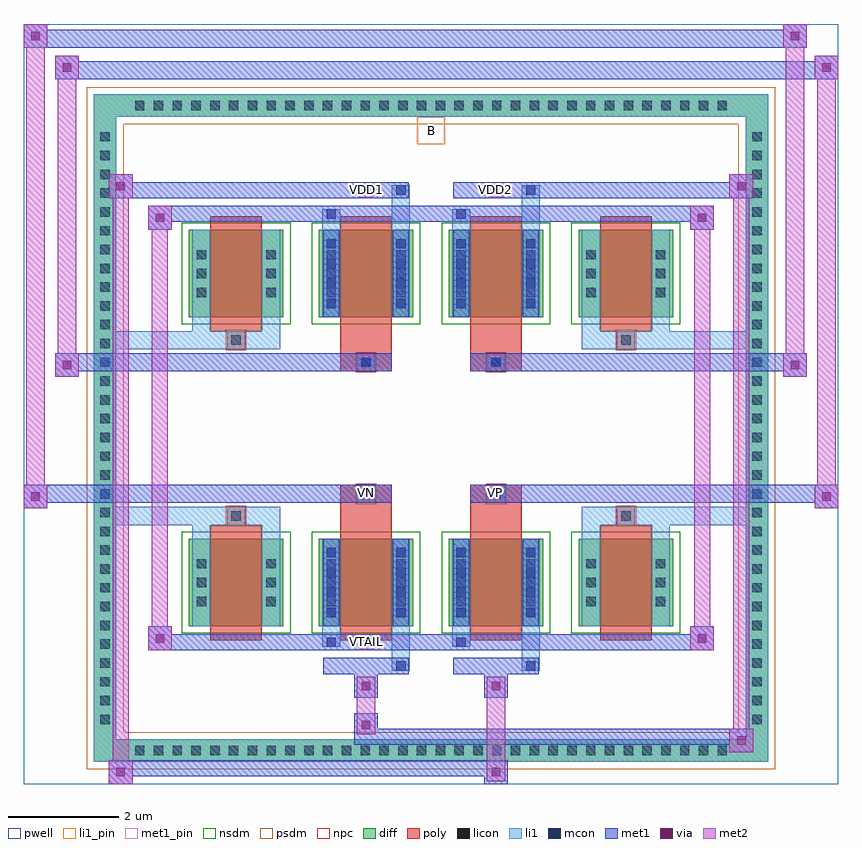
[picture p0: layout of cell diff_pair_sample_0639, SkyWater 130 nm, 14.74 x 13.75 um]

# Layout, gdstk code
import gdstk
lib = gdstk.Library(unit=1e-6, precision=5e-09)
def R(c, l, rs):  # rectangles x0, y0, x1, y1
    for r in rs: c.add(gdstk.rectangle(r[:2], r[2:], *l))
def A(c, l, x, y, w, h, nx, ny, dx, dy):  # array of equal rectangles
    R(c, l, [(x+i*dx, y+j*dy, x+i*dx+w, y+j*dy+h) for i in range(nx) for j in range(ny)])
def P(c, l, *ps):  # polygons
    for p in ps: c.add(gdstk.Polygon(p, *l))
pwell = (64, 44)
diff = (65, 20)
poly = (66, 20)
licon = (66, 44)
li1_pin = (67, 16)
li1 = (67, 20)
mcon = (67, 44)
met1_pin = (68, 16)
met1 = (68, 20)
via = (68, 44)
met2 = (69, 20)
nsdm = (93, 44)
psdm = (94, 20)
npc = (95, 20)

diff_pair_sample_0639 = lib.new_cell('diff_pair_sample_0639')
R(diff_pair_sample_0639, pwell, [(-7.37,-6.44,7.37,7.31), (-4.69,-4.63,-0.01,-0.825), (0.01,-4.63,4.69,-0.825), (-4.69,0.825,-0.01,4.63), (0.01,0.825,4.69,4.63)])
A(diff_pair_sample_0639, diff, -5.475, -6.04, 0.41, 0.41, 32, 2, 0.34, 11.67)
A(diff_pair_sample_0639, diff, -6.1, -5.475, 0.41, 0.41, 1, 32, 0, 0.34)
A(diff_pair_sample_0639, diff, 5.69, -5.475, 0.41, 0.41, 1, 32, 0, 0.34)
A(diff_pair_sample_0639, diff, -4.38, -3.585, 1.71, 1.58, 4, 2, 2.35, 5.59)
R(diff_pair_sample_0639, diff, [(-5.475,-6.04,5.475,-5.63), (-6.1,-5.475,-5.69,5.475), (5.69,-5.475,6.1,5.475), (-5.475,5.63,5.475,6.04)])
P(diff_pair_sample_0639, diff, [(6.1,6.04),(-6.1,6.04),(-6.1,-5.63),(-5.69,-5.63),(-5.69,5.63),(5.69,5.63),(5.69,-5.63),(-5.69,-5.63),(-6.1,-5.63),(-6.1,-6.04),(6.1,-6.04)])
A(diff_pair_sample_0639, poly, -3.99, -3.835, 0.93, 2.08, 4, 2, 2.35, 5.59)
R(diff_pair_sample_0639, poly, [(-3.69,-1.755,-3.36,-1.425), (-3.69,-1.755,-3.36,-1.425), (-1.64,-1.755,-0.71,-1.355), (0.71,-1.755,1.64,-1.355), (3.36,-1.755,3.69,-1.425), (3.36,-1.755,3.69,-1.425), (-1.64,-1.355,-0.71,-1.025), (-1.34,-1.355,-1.01,-1.025), (0.71,-1.355,1.64,-1.025), (1.01,-1.355,1.34,-1.025), (-1.64,1.025,-0.71,1.355), (-1.34,1.025,-1.01,1.355), (0.71,1.025,1.64,1.355), (1.01,1.025,1.34,1.355), (-1.64,1.355,-0.71,1.755), (0.71,1.355,1.64,1.755), (-3.69,1.425,-3.36,1.755), (-3.69,1.425,-3.36,1.755), (3.36,1.425,3.69,1.755), (3.36,1.425,3.69,1.755)])
A(diff_pair_sample_0639, licon, -5.355, -5.92, 0.17, 0.17, 32, 2, 0.34, 11.67)
A(diff_pair_sample_0639, licon, -5.98, -5.355, 0.17, 0.17, 1, 32, 0, 0.34)
A(diff_pair_sample_0639, licon, 5.81, -5.355, 0.17, 0.17, 1, 32, 0, 0.34)
A(diff_pair_sample_0639, licon, -4.24, -3.22, 0.17, 0.17, 1, 3, 0, 0.34)
A(diff_pair_sample_0639, licon, -2.98, -3.22, 0.17, 0.17, 1, 3, 0, 0.34)
A(diff_pair_sample_0639, licon, -1.89, -3.22, 0.17, 0.17, 1, 3, 0, 0.34)
A(diff_pair_sample_0639, licon, -0.63, -3.22, 0.17, 0.17, 1, 3, 0, 0.34)
A(diff_pair_sample_0639, licon, 0.46, -3.22, 0.17, 0.17, 1, 3, 0, 0.34)
A(diff_pair_sample_0639, licon, 1.72, -3.22, 0.17, 0.17, 1, 3, 0, 0.34)
A(diff_pair_sample_0639, licon, 2.81, -3.22, 0.17, 0.17, 1, 3, 0, 0.34)
A(diff_pair_sample_0639, licon, 4.07, -3.22, 0.17, 0.17, 1, 3, 0, 0.34)
A(diff_pair_sample_0639, licon, -4.24, 2.37, 0.17, 0.17, 1, 3, 0, 0.34)
A(diff_pair_sample_0639, licon, -2.98, 2.37, 0.17, 0.17, 1, 3, 0, 0.34)
A(diff_pair_sample_0639, licon, -1.89, 2.37, 0.17, 0.17, 1, 3, 0, 0.34)
A(diff_pair_sample_0639, licon, -0.63, 2.37, 0.17, 0.17, 1, 3, 0, 0.34)
A(diff_pair_sample_0639, licon, 0.46, 2.37, 0.17, 0.17, 1, 3, 0, 0.34)
A(diff_pair_sample_0639, licon, 1.72, 2.37, 0.17, 0.17, 1, 3, 0, 0.34)
A(diff_pair_sample_0639, licon, 2.81, 2.37, 0.17, 0.17, 1, 3, 0, 0.34)
A(diff_pair_sample_0639, licon, 4.07, 2.37, 0.17, 0.17, 1, 3, 0, 0.34)
R(diff_pair_sample_0639, licon, [(-3.61,-1.675,-3.44,-1.505), (3.44,-1.675,3.61,-1.505), (-1.26,-1.275,-1.09,-1.105), (1.09,-1.275,1.26,-1.105), (-1.26,1.105,-1.09,1.275), (1.09,1.105,1.26,1.275), (-3.61,1.505,-3.44,1.675), (3.44,1.505,3.61,1.675)])
R(diff_pair_sample_0639, li1_pin, [(-0.25,5.13,0.25,5.63)])
A(diff_pair_sample_0639, li1, -5.435, -6, 0.33, 0.33, 32, 2, 0.34, 11.67)
A(diff_pair_sample_0639, li1, -6.06, -5.435, 0.33, 0.33, 1, 32, 0, 0.34)
A(diff_pair_sample_0639, li1, 5.73, -5.435, 0.33, 0.33, 1, 32, 0, 0.34)
A(diff_pair_sample_0639, li1, -1.89, -3.42, 0.17, 0.17, 1, 4, 0, 0.36)
A(diff_pair_sample_0639, li1, -0.63, -3.42, 0.17, 0.17, 1, 4, 0, 0.36)
A(diff_pair_sample_0639, li1, 0.46, -3.42, 0.17, 0.17, 1, 4, 0, 0.36)
A(diff_pair_sample_0639, li1, 1.72, -3.42, 0.17, 0.17, 1, 4, 0, 0.36)
A(diff_pair_sample_0639, li1, -4.32, -3.3, 0.33, 0.33, 1, 3, 0, 0.34)
A(diff_pair_sample_0639, li1, -3.06, -3.3, 0.33, 0.33, 1, 3, 0, 0.34)
A(diff_pair_sample_0639, li1, -1.97, -3.3, 0.33, 0.33, 1, 3, 0, 0.34)
A(diff_pair_sample_0639, li1, -0.71, -3.3, 0.33, 0.33, 1, 3, 0, 0.34)
A(diff_pair_sample_0639, li1, 0.38, -3.3, 0.33, 0.33, 1, 3, 0, 0.34)
A(diff_pair_sample_0639, li1, 1.64, -3.3, 0.33, 0.33, 1, 3, 0, 0.34)
A(diff_pair_sample_0639, li1, 2.73, -3.3, 0.33, 0.33, 1, 3, 0, 0.34)
A(diff_pair_sample_0639, li1, 3.99, -3.3, 0.33, 0.33, 1, 3, 0, 0.34)
A(diff_pair_sample_0639, li1, -1.89, 2.17, 0.17, 0.17, 1, 4, 0, 0.36)
A(diff_pair_sample_0639, li1, -0.63, 2.17, 0.17, 0.17, 1, 4, 0, 0.36)
A(diff_pair_sample_0639, li1, 0.46, 2.17, 0.17, 0.17, 1, 4, 0, 0.36)
A(diff_pair_sample_0639, li1, 1.72, 2.17, 0.17, 0.17, 1, 4, 0, 0.36)
A(diff_pair_sample_0639, li1, -4.32, 2.29, 0.33, 0.33, 1, 3, 0, 0.34)
A(diff_pair_sample_0639, li1, -3.06, 2.29, 0.33, 0.33, 1, 3, 0, 0.34)
A(diff_pair_sample_0639, li1, -1.97, 2.29, 0.33, 0.33, 1, 3, 0, 0.34)
A(diff_pair_sample_0639, li1, -0.71, 2.29, 0.33, 0.33, 1, 3, 0, 0.34)
A(diff_pair_sample_0639, li1, 0.38, 2.29, 0.33, 0.33, 1, 3, 0, 0.34)
A(diff_pair_sample_0639, li1, 1.64, 2.29, 0.33, 0.33, 1, 3, 0, 0.34)
A(diff_pair_sample_0639, li1, 2.73, 2.29, 0.33, 0.33, 1, 3, 0, 0.34)
A(diff_pair_sample_0639, li1, 3.99, 2.29, 0.33, 0.33, 1, 3, 0, 0.34)
R(diff_pair_sample_0639, li1, [(-6.1,-6.04,-5.69,-5.63), (-6.1,-6.04,-5.69,-5.63), (-5.69,-6.04,5.69,-5.63), (5.69,-6.04,6.1,-5.63), (5.69,-6.04,6.1,-5.63), (-6.1,-5.63,-5.69,5.63), (5.69,-5.63,6.1,5.63), (-0.71,-4.39,-0.38,-3.585), (-0.63,-4.39,-0.46,-4.22), (1.64,-4.39,1.97,-3.585), (1.72,-4.39,1.89,-4.22), (-1.97,-3.96,-1.64,-3.585), (-1.89,-3.96,-1.72,-3.79), (0.38,-3.96,0.71,-3.585), (0.46,-3.96,0.63,-3.79), (-4.32,-3.585,-3.99,-2.005), (-3.06,-3.585,-2.73,-2.005), (-1.97,-3.585,-1.64,-2.005), (-0.71,-3.585,-0.38,-2.005), (0.38,-3.585,0.71,-2.005), (1.64,-3.585,1.97,-2.005), (2.73,-3.585,3.06,-2.005), (3.99,-3.585,4.32,-2.005), (-1.89,-3.42,-1.72,-2.17), (-0.63,-3.42,-0.46,-2.17), (0.46,-3.42,0.63,-2.17), (1.72,-3.42,1.89,-2.17), (-4.32,-2.005,-3.99,-1.425), (-3.06,-2.005,-2.73,-1.425), (2.73,-2.005,3.06,-1.425), (3.99,-2.005,4.32,-1.425), (-6.1,-1.755,-3.69,-1.425), (-4.32,-1.755,-3.69,-1.425), (-3.69,-1.755,-3.36,-1.425), (-3.36,-1.755,-2.73,-1.425), (2.73,-1.755,3.36,-1.425), (3.36,-1.755,3.69,-1.425), (3.36,-1.755,6.1,-1.425), (3.69,-1.755,4.32,-1.425), (-1.34,-1.355,-1.01,-1.025), (1.01,-1.355,1.34,-1.025), (-1.34,1.025,-1.01,1.355), (1.01,1.025,1.34,1.355), (-6.1,1.425,-3.69,1.755), (-4.32,1.425,-3.69,1.755), (-4.32,1.425,-3.99,2.005), (-3.69,1.425,-3.36,1.755), (-3.36,1.425,-2.73,1.755), (-3.06,1.425,-2.73,2.005), (2.73,1.425,3.36,1.755), (2.73,1.425,3.06,2.005), (3.36,1.425,3.69,1.755), (3.36,1.425,6.1,1.755), (3.69,1.425,4.32,1.755), (3.99,1.425,4.32,2.005), (-4.32,2.005,-3.99,3.585), (-3.06,2.005,-2.73,3.585), (-1.97,2.005,-1.64,3.585), (-0.71,2.005,-0.38,3.585), (0.38,2.005,0.71,3.585), (1.64,2.005,1.97,3.585), (2.73,2.005,3.06,3.585), (3.99,2.005,4.32,3.585), (-1.89,2.17,-1.72,3.42), (-0.63,2.17,-0.46,3.42), (0.46,2.17,0.63,3.42), (1.72,2.17,1.89,3.42), (-1.97,3.585,-1.64,3.96), (-0.71,3.585,-0.38,4.39), (0.38,3.585,0.71,3.96), (1.64,3.585,1.97,4.39), (-1.89,3.79,-1.72,3.96), (0.46,3.79,0.63,3.96), (-0.63,4.22,-0.46,4.39), (1.72,4.22,1.89,4.39), (-6.1,5.63,-5.69,6.04), (-6.1,5.63,-5.69,6.04), (-5.69,5.63,5.69,6.04), (5.69,5.63,6.1,6.04), (5.69,5.63,6.1,6.04)])
A(diff_pair_sample_0639, mcon, -1.89, -3.42, 0.17, 0.17, 1, 4, 0, 0.36)
A(diff_pair_sample_0639, mcon, -0.63, -3.42, 0.17, 0.17, 1, 4, 0, 0.36)
A(diff_pair_sample_0639, mcon, 0.46, -3.42, 0.17, 0.17, 1, 4, 0, 0.36)
A(diff_pair_sample_0639, mcon, 1.72, -3.42, 0.17, 0.17, 1, 4, 0, 0.36)
A(diff_pair_sample_0639, mcon, -1.89, 2.17, 0.17, 0.17, 1, 4, 0, 0.36)
A(diff_pair_sample_0639, mcon, -0.63, 2.17, 0.17, 0.17, 1, 4, 0, 0.36)
A(diff_pair_sample_0639, mcon, 0.46, 2.17, 0.17, 0.17, 1, 4, 0, 0.36)
A(diff_pair_sample_0639, mcon, 1.72, 2.17, 0.17, 0.17, 1, 4, 0, 0.36)
R(diff_pair_sample_0639, mcon, [(-0.63,-4.39,-0.46,-4.22), (1.72,-4.39,1.89,-4.22), (-1.89,-3.96,-1.72,-3.79), (0.46,-3.96,0.63,-3.79), (-1.26,-1.275,-1.09,-1.105), (1.09,-1.275,1.26,-1.105), (-1.26,1.105,-1.09,1.275), (1.09,1.105,1.26,1.275), (-1.89,3.79,-1.72,3.96), (0.46,3.79,0.63,3.96), (-0.63,4.22,-0.46,4.39), (1.72,4.22,1.89,4.39)])
R(diff_pair_sample_0639, met1_pin, [(-1.31,-4,-1.04,-3.73), (-1.31,-1.295,-1.04,-1.025), (1.04,-1.295,1.31,-1.025), (-1.31,4.18,-1.04,4.45), (1.04,4.18,1.31,4.45)])
A(diff_pair_sample_0639, met1, -1.95, -3.48, 0.29, 0.29, 1, 4, 0, 0.36)
A(diff_pair_sample_0639, met1, -0.69, -3.48, 0.29, 0.29, 1, 4, 0, 0.36)
A(diff_pair_sample_0639, met1, 0.4, -3.48, 0.29, 0.29, 1, 4, 0, 0.36)
A(diff_pair_sample_0639, met1, 1.66, -3.48, 0.29, 0.29, 1, 4, 0, 0.36)
A(diff_pair_sample_0639, met1, -1.95, 2.11, 0.29, 0.29, 1, 4, 0, 0.36)
A(diff_pair_sample_0639, met1, -0.69, 2.11, 0.29, 0.29, 1, 4, 0, 0.36)
A(diff_pair_sample_0639, met1, 0.4, 2.11, 0.29, 0.29, 1, 4, 0, 0.36)
A(diff_pair_sample_0639, met1, 1.66, 2.11, 0.29, 0.29, 1, 4, 0, 0.36)
R(diff_pair_sample_0639, met1, [(-5.83,-6.44,-5.4,-6.01), (0.96,-6.44,1.39,-6.01), (-5.83,-6.3,1.39,-6.01), (5.4,-5.87,5.83,-5.44), (-1.39,-5.73,5.83,-5.44), (-1.39,-5.59,-0.96,-5.16), (-1.39,-4.88,-0.96,-4.45), (0.96,-4.88,1.39,-4.45), (-1.95,-4.45,-0.4,-4.16), (-0.69,-4.45,-0.4,-4.16), (0.4,-4.45,1.95,-4.16), (1.66,-4.45,1.95,-4.16), (-5.12,-4.02,-4.69,-3.59), (-5.12,-4.02,-1.95,-3.73), (-1.95,-4.02,-1.66,-3.73), (-1.95,-4.02,-0.4,-3.73), (-0.4,-4.02,0.4,-3.73), (0.4,-4.02,0.69,-3.73), (0.4,-4.02,1.95,-3.73), (1.95,-4.02,5.12,-3.73), (4.69,-4.02,5.12,-3.59), (-1.95,-3.585,-1.66,-2.005), (-0.69,-3.585,-0.4,-2.005), (0.4,-3.585,0.69,-2.005), (1.66,-3.585,1.95,-2.005), (-7.37,-1.455,-6.94,-1.025), (6.94,-1.455,7.37,-1.025), (-7.37,-1.355,-0.71,-1.025), (-1.64,-1.355,-0.71,-1.025), (0.71,-1.355,1.64,-1.025), (0.71,-1.355,7.37,-1.025), (-1.32,-1.335,-1.03,-1.045), (1.03,-1.335,1.32,-1.045), (-6.8,0.925,-6.37,1.355), (6.37,0.925,6.8,1.355), (-6.8,1.025,-1.64,1.355), (-1.64,1.025,-0.71,1.355), (0.71,1.025,1.64,1.355), (1.64,1.025,6.8,1.355), (-1.32,1.045,-1.03,1.335), (1.03,1.045,1.32,1.335), (-1.95,2.005,-1.66,3.585), (-0.69,2.005,-0.4,3.585), (0.4,2.005,0.69,3.585), (1.66,2.005,1.95,3.585), (-5.12,3.59,-4.69,4.02), (4.69,3.59,5.12,4.02), (-5.12,3.73,-1.95,4.02), (-1.95,3.73,-1.66,4.02), (-1.95,3.73,-0.4,4.02), (-0.4,3.73,0.4,4.02), (0.4,3.73,0.69,4.02), (0.4,3.73,1.95,4.02), (1.95,3.73,5.12,4.02), (-5.83,4.16,-5.4,4.59), (-5.83,4.16,-1.95,4.45), (-1.95,4.16,-0.4,4.45), (-0.69,4.16,-0.4,4.45), (0.4,4.16,1.95,4.45), (1.66,4.16,1.95,4.45), (1.95,4.16,5.83,4.45), (5.4,4.16,5.83,4.59), (-6.8,6.31,-6.37,6.74), (-6.8,6.31,-4.69,6.64), (-4.69,6.31,4.69,6.64), (4.69,6.31,7.37,6.64), (6.94,6.31,7.37,6.74), (-7.37,6.88,-6.94,7.31), (-7.37,6.88,-4.69,7.21), (-4.69,6.88,4.69,7.21), (4.69,6.88,6.8,7.21), (6.37,6.88,6.8,7.31)])
R(diff_pair_sample_0639, via, [(-5.69,-6.3,-5.54,-6.15), (1.1,-6.3,1.25,-6.15), (5.54,-5.73,5.69,-5.58), (-1.25,-5.45,-1.1,-5.3), (-1.25,-4.74,-1.1,-4.59), (1.1,-4.74,1.25,-4.59), (-4.98,-3.88,-4.83,-3.73), (4.83,-3.88,4.98,-3.73), (-7.23,-1.315,-7.08,-1.165), (7.08,-1.315,7.23,-1.165), (-6.66,1.065,-6.51,1.215), (6.51,1.065,6.66,1.215), (-4.98,3.73,-4.83,3.88), (4.83,3.73,4.98,3.88), (-5.69,4.3,-5.54,4.45), (5.54,4.3,5.69,4.45), (-6.66,6.45,-6.51,6.6), (7.08,6.45,7.23,6.6), (-7.23,7.02,-7.08,7.17), (6.51,7.02,6.66,7.17)])
R(diff_pair_sample_0639, met2, [(-5.83,-6.44,-5.4,-6.01), (-5.76,-6.44,-5.47,4.59), (-5.47,-6.44,-5.4,-6.01), (-5.78,-6.39,-5.45,-6.06), (1.01,-6.39,1.34,-6.06), (1.01,-6.06,1.34,-4.83), (5.4,-5.87,5.83,-5.44), (5.47,-5.87,5.76,4.59), (5.76,-5.87,5.83,-5.44), (5.45,-5.82,5.78,-5.49), (-1.34,-5.54,-1.01,-5.21), (-1.34,-5.21,-1.01,-4.83), (-1.34,-4.83,-1.01,-4.5), (1.01,-4.83,1.34,-4.5), (-5.12,-4.02,-4.69,-3.59), (-5.05,-4.02,-4.76,4.02), (-4.76,-4.02,-4.69,-3.59), (4.69,-4.02,5.12,-3.59), (4.76,-4.02,5.05,4.02), (5.05,-4.02,5.12,-3.59), (-5.07,-3.97,-4.74,-3.64), (4.74,-3.97,5.07,-3.64), (-7.37,-1.455,-6.94,-1.025), (-7.32,-1.455,-6.99,7.31), (-6.99,-1.455,-6.94,-1.025), (6.94,-1.455,7.37,-1.025), (6.99,-1.455,7.32,6.74), (7.32,-1.455,7.37,-1.025), (-7.32,-1.405,-6.99,-1.075), (6.99,-1.405,7.32,-1.075), (-6.8,0.925,-6.37,1.355), (-6.75,0.925,-6.42,6.74), (-6.42,0.925,-6.37,1.355), (6.37,0.925,6.8,1.355), (6.42,0.925,6.75,7.31), (6.75,0.925,6.8,1.355), (-6.75,0.975,-6.42,1.305), (6.42,0.975,6.75,1.305), (-5.12,3.59,-4.69,4.02), (-4.76,3.59,-4.69,4.02), (4.69,3.59,5.12,4.02), (5.05,3.59,5.12,4.02), (-5.07,3.64,-4.74,3.97), (4.74,3.64,5.07,3.97), (-5.83,4.16,-5.4,4.59), (-5.47,4.16,-5.4,4.59), (5.4,4.16,5.83,4.59), (5.76,4.16,5.83,4.59), (-5.78,4.21,-5.45,4.54), (5.45,4.21,5.78,4.54), (-6.8,6.31,-6.37,6.74), (-6.42,6.31,-6.37,6.74), (6.94,6.31,7.37,6.74), (7.32,6.31,7.37,6.74), (-6.75,6.36,-6.42,6.69), (6.99,6.36,7.32,6.69), (-7.37,6.88,-6.94,7.31), (-6.99,6.88,-6.94,7.31), (6.37,6.88,6.8,7.31), (6.75,6.88,6.8,7.31), (-7.32,6.93,-6.99,7.26), (6.42,6.93,6.75,7.26)])
A(diff_pair_sample_0639, nsdm, -4.51, -3.715, 1.97, 1.84, 4, 2, 2.35, 5.59)
P(diff_pair_sample_0639, psdm, [(6.23,6.17),(-6.23,6.17),(-6.23,-5.5),(-5.56,-5.5),(-5.56,5.5),(5.56,5.5),(5.56,-5.5),(-5.56,-5.5),(-6.23,-5.5),(-6.23,-6.17),(6.23,-6.17)])
R(diff_pair_sample_0639, npc, [(-3.71,-1.775,-3.34,-1.405), (3.34,-1.775,3.71,-1.405), (-1.36,-1.375,-0.99,-1.005), (0.99,-1.375,1.36,-1.005), (-1.36,1.005,-0.99,1.375), (0.99,1.005,1.36,1.375), (-3.71,1.405,-3.34,1.775), (3.34,1.405,3.71,1.775)])
diff_pair_sample_0639.add(gdstk.Label('VTAIL', (-1.175,-3.865), layer=68, texttype=5))
diff_pair_sample_0639.add(gdstk.Label('VN', (-1.175,-1.16), layer=68, texttype=5))
diff_pair_sample_0639.add(gdstk.Label('VP', (1.175,-1.16), layer=68, texttype=5))
diff_pair_sample_0639.add(gdstk.Label('B', (0,5.38), layer=67, texttype=5))
diff_pair_sample_0639.add(gdstk.Label('VDD2', (1.175,4.315), layer=68, texttype=5))
diff_pair_sample_0639.add(gdstk.Label('VDD1', (-1.175,4.315), layer=68, texttype=5))

lib.write_gds('diff_pair_sample_0639.gds')
